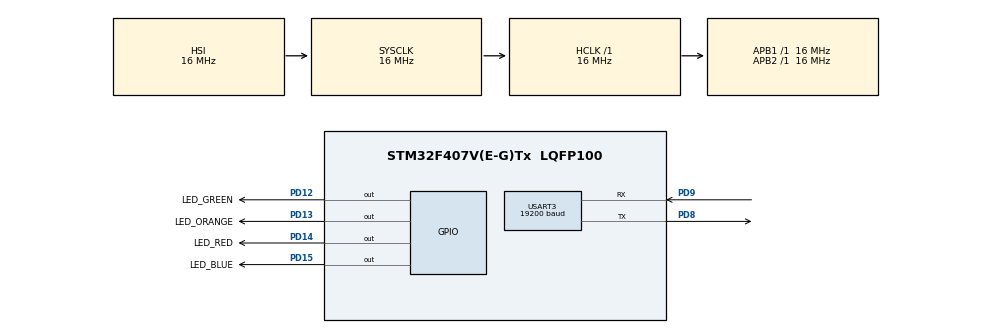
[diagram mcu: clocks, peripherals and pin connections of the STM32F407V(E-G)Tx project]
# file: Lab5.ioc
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Mcu.Family=STM32F4
Mcu.Name=STM32F407V(E-G)Tx
Mcu.Package=LQFP100
NVIC.PriorityGroup=NVIC_PRIORITYGROUP_4
PD12.GPIO_Label=LED_GREEN
PD12.Signal=GPIO_Output
PD13.GPIO_Label=LED_ORANGE
PD13.Signal=GPIO_Output
PD14.GPIO_Label=LED_RED
PD14.Signal=GPIO_Output
PD15.GPIO_Label=LED_BLUE
PD15.Signal=GPIO_Output
PD8.Mode=Asynchronous
PD8.Signal=USART3_TX
PD9.Mode=Asynchronous
PD9.Signal=USART3_RX
ProjectManager.HeapSize=0x200
ProjectManager.StackSize=0x400
ProjectManager.TargetToolchain=STM32CubeIDE
RCC.AHBFreq_Value=16000000
RCC.APB1Freq_Value=16000000
RCC.APB2Freq_Value=16000000
RCC.CortexFreq_Value=16000000
RCC.HSE_VALUE=25000000
RCC.HSI_VALUE=16000000
RCC.LSE_VALUE=32768
RCC.SYSCLKFreq_VALUE=16000000
RCC.VCOOutputFreq_Value=192000000
USART3.BaudRate=19200
USART3.VirtualMode=VM_ASYNC
board=custom

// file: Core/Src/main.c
/* USER CODE BEGIN Header */
/**
  ******************************************************************************
  * @file           : main.c
  * @brief          : Main program body
  ******************************************************************************
  * @attention
  *
  * Copyright (c) 2024 STMicroelectronics.
  * All rights reserved.
  *
  * This software is licensed under terms that can be found in the LICENSE file
  * in the root directory of this software component.
  * If no LICENSE file comes with this software, it is provided AS-IS.
  *
  ******************************************************************************
  */
/* USER CODE END Header */
#include "main.h"

/* USER CODE BEGIN PD */

#define LEDS ((uint16_t []){LED_GREEN_Pin, LED_ORANGE_Pin, LED_RED_Pin, LED_BLUE_Pin})

/* USER CODE END PD */

/* USER CODE BEGIN PM */

#define LOG_STR(huart, str, dtime) HAL_UART_Transmit(huart, (uint8_t*)str, sizeof(str) - 1, dtime)

#define LOG_PIN_STATE_IMPL(huart, pin, name, dtime) do {              \
    const uint16_t state = HAL_GPIO_ReadPin(GPIOD, pin);              \
    if (state == GPIO_PIN_SET)                                        \
      LOG_STR(huart, " - " name " ON\r\n", dtime);                    \
    else                                                              \
      LOG_STR(huart, " - " name " OFF\r\n", dtime);                   \
  } while (0)

#define LOG_PIN_STATE(huart, pin, dtime) switch (pin) { \
  case LED_GREEN_Pin:                                   \
    LOG_PIN_STATE_IMPL(huart, pin, "GREEN", dtime);     \
    break;                                              \
  case LED_ORANGE_Pin:                                  \
    LOG_PIN_STATE_IMPL(huart, pin, "ORANGE", dtime);    \
    break;                                              \
  case LED_RED_Pin:                                     \
    LOG_PIN_STATE_IMPL(huart, pin, "RED", dtime);       \
    break;                                              \
  case LED_BLUE_Pin:                                    \
    LOG_PIN_STATE_IMPL(huart, pin, "BLUE", dtime);      \
    break;                                              \
  }

#define UNEXPECTED_STR_BEGIN " - Unexpected command '"
#define UNEXPECTED_STR_END "'\r\n"

#define LOG_UNEXPECTED_COMMAND(huart, command, dtime) do {          \
    char str[] = UNEXPECTED_STR_BEGIN " " UNEXPECTED_STR_END;       \
    str[sizeof(UNEXPECTED_STR_BEGIN) - 1] = (char)command;          \
    LOG_STR(huart, str, dtime);                                     \
  } while (0)

#define ARRLEN(arr) (sizeof(arr) / sizeof(*arr))

/* USER CODE END PM */

UART_HandleTypeDef huart3;

void SystemClock_Config(void);
static void MX_GPIO_Init(void);
static void MX_USART3_UART_Init(void);

int main(void)
{

  /* MCU Configuration--------------------------------------------------------*/

  /* Reset of all peripherals, Initializes the Flash interface and the Systick. */
  HAL_Init();

  /* Configure the system clock */
  SystemClock_Config();

  /* Initialize all configured peripherals */
  MX_GPIO_Init();
  MX_USART3_UART_Init();

  /* Infinite loop */
  /* USER CODE BEGIN WHILE */
  while (1)
  {
    uint8_t buffer[1];
    HAL_StatusTypeDef result;

    result = HAL_UART_Receive(&huart3, buffer, 1, 10);

    if (result != HAL_OK)
      continue;

    switch (buffer[0]) {
    case '1':
      HAL_GPIO_TogglePin(GPIOD, LED_GREEN_Pin);
      LOG_PIN_STATE(&huart3, LED_GREEN_Pin, 100);
      break;

    case '2':
      HAL_GPIO_TogglePin(GPIOD, LED_ORANGE_Pin);
      LOG_PIN_STATE(&huart3, LED_ORANGE_Pin, 100);
      break;

    case '3':
      HAL_GPIO_TogglePin(GPIOD, LED_RED_Pin);
      LOG_PIN_STATE(&huart3, LED_RED_Pin, 100);
      break;

    case '4':
      HAL_GPIO_TogglePin(GPIOD, LED_BLUE_Pin);
      LOG_PIN_STATE(&huart3, LED_BLUE_Pin, 100);
      break;

    case '5':
      for (int i = 0; i < ARRLEN(LEDS); i++)
        HAL_GPIO_WritePin(GPIOD, LEDS[i], GPIO_PIN_SET);
      LOG_STR(&huart3, " - All LEDs ON\r\n", 100);
      break;

    case '6':
      for (int i = 0; i < ARRLEN(LEDS); i++)
        HAL_GPIO_WritePin(GPIOD, LEDS[i], GPIO_PIN_RESET);
      LOG_STR(&huart3, " - All LEDs OFF\r\n", 100);
      break;

    default:
      LOG_UNEXPECTED_COMMAND(&huart3, buffer[0], 100);
    }
    /* USER CODE END WHILE */

  }
}

void SystemClock_Config(void)
{
  RCC_OscInitTypeDef RCC_OscInitStruct = {0};
  RCC_ClkInitTypeDef RCC_ClkInitStruct = {0};

  /** Configure the main internal regulator output voltage
  */
  __HAL_RCC_PWR_CLK_ENABLE();
  __HAL_PWR_VOLTAGESCALING_CONFIG(PWR_REGULATOR_VOLTAGE_SCALE1);

  /** Initializes the RCC Oscillators according to the specified parameters
  * in the RCC_OscInitTypeDef structure.
  */
  RCC_OscInitStruct.OscillatorType = RCC_OSCILLATORTYPE_HSI;
  RCC_OscInitStruct.HSIState = RCC_HSI_ON;
  RCC_OscInitStruct.HSICalibrationValue = RCC_HSICALIBRATION_DEFAULT;
  RCC_OscInitStruct.PLL.PLLState = RCC_PLL_NONE;
  if (HAL_RCC_OscConfig(&RCC_OscInitStruct) != HAL_OK)
  {
    Error_Handler();
  }

  /** Initializes the CPU, AHB and APB buses clocks
  */
  RCC_ClkInitStruct.ClockType = RCC_CLOCKTYPE_HCLK|RCC_CLOCKTYPE_SYSCLK
                              |RCC_CLOCKTYPE_PCLK1|RCC_CLOCKTYPE_PCLK2;
  RCC_ClkInitStruct.SYSCLKSource = RCC_SYSCLKSOURCE_HSI;
  RCC_ClkInitStruct.AHBCLKDivider = RCC_SYSCLK_DIV1;
  RCC_ClkInitStruct.APB1CLKDivider = RCC_HCLK_DIV1;
  RCC_ClkInitStruct.APB2CLKDivider = RCC_HCLK_DIV1;

  if (HAL_RCC_ClockConfig(&RCC_ClkInitStruct, FLASH_LATENCY_0) != HAL_OK)
  {
    Error_Handler();
  }
}

static void MX_USART3_UART_Init(void)
{

  huart3.Instance = USART3;
  huart3.Init.BaudRate = 19200;
  huart3.Init.WordLength = UART_WORDLENGTH_8B;
  huart3.Init.StopBits = UART_STOPBITS_1;
  huart3.Init.Parity = UART_PARITY_NONE;
  huart3.Init.Mode = UART_MODE_TX_RX;
  huart3.Init.HwFlowCtl = UART_HWCONTROL_NONE;
  huart3.Init.OverSampling = UART_OVERSAMPLING_16;
  if (HAL_UART_Init(&huart3) != HAL_OK)
  {
    Error_Handler();
  }

}

static void MX_GPIO_Init(void)
{
  GPIO_InitTypeDef GPIO_InitStruct = {0};

  /* GPIO Ports Clock Enable */
  __HAL_RCC_GPIOD_CLK_ENABLE();

  /*Configure GPIO pin Output Level */
  HAL_GPIO_WritePin(GPIOD, LED_GREEN_Pin|LED_ORANGE_Pin|LED_RED_Pin|LED_BLUE_Pin, GPIO_PIN_RESET);

  /*Configure GPIO pins : LED_GREEN_Pin LED_ORANGE_Pin LED_RED_Pin LED_BLUE_Pin */
  GPIO_InitStruct.Pin = LED_GREEN_Pin|LED_ORANGE_Pin|LED_RED_Pin|LED_BLUE_Pin;
  GPIO_InitStruct.Mode = GPIO_MODE_OUTPUT_PP;
  GPIO_InitStruct.Pull = GPIO_NOPULL;
  GPIO_InitStruct.Speed = GPIO_SPEED_FREQ_LOW;
  HAL_GPIO_Init(GPIOD, &GPIO_InitStruct);

}

void Error_Handler(void)
{
  __disable_irq();
  while (1)
  {
  }
}
